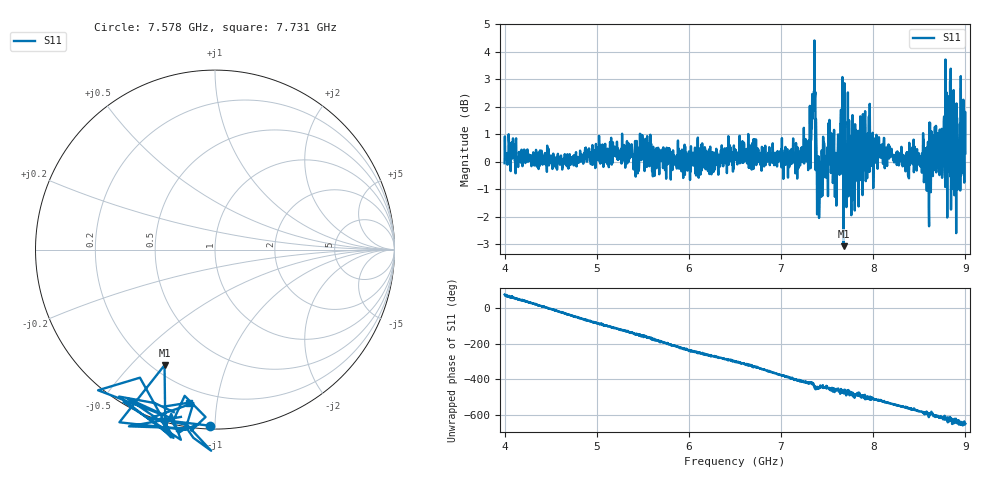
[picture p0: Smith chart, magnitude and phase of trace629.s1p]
! Created with skrf 1.8.0 (http://scikit-rf.org).
# Hz S RI R 50.0
!freq ReS11 ImS11
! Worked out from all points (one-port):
!   1601 points, 4 GHz to 9 GHz, reference 50 ohm
!   lowest |S11| = -3.1 dB at 7.678 GHz (marker M1), VSWR 5.72, Z = 12.3 - j31.3 ohm
!   |S11| at or under -10 dB: nowhere
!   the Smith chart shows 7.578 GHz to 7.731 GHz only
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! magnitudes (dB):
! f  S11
! 4 GHz  -0.1
! 4.625 GHz  -0.3
! 5.25 GHz  0.1
! 5.875 GHz  0.0
! 6.5 GHz  0.4
! 7.125 GHz  0.4
! 7.294 GHz  -0.3
! 7.347 GHz  2.1
! 7.362 GHz  4.4
! 7.412 GHz  -2.0
! 7.512 GHz  1.4
! 7.588 GHz  -0.1
! 7.647 GHz  1.4
! 7.678 GHz  -3.1
! 7.703 GHz  -0.3
! 7.75 GHz  0.7
! 7.784 GHz  -0.5
! 7.891 GHz  0.7
! 8.375 GHz  0.0
! 8.522 GHz  0.0
! 8.581 GHz  -1.1
! 8.656 GHz  1.0
! 8.725 GHz  0.3
! 8.809 GHz  2.4
! 8.828 GHz  -0.3
! 8.906 GHz  0.8
! 8.972 GHz  0.6
! 9 GHz  0.3
